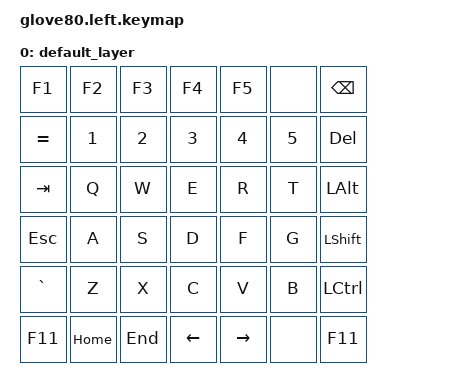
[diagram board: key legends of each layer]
/*
 * Copyright (c) 2020 The ZMK Contributors
 *
 * SPDX-License-Identifier: MIT
 */

#include <behaviors.dtsi>
#include <dt-bindings/zmk/keys.h>

/ {
    keymap {
        compatible = "zmk,keymap";

        default_layer {
// ---------------------------------------------------------------------------------------------------------------------------------
// |  F1   |  F2 |  F3 |  F4  |  F5  | n/a  |  BKSP   | | SPACE   | n/a  |  F6   |  F7   |  F8  |   F9  |  F10 |
// |  =    |  1  |  2  |  3   |  4   |  5   |  DEL    | | ENTER   |  6   |   7   |   8   |  9   |   0   |   -  |
// |  TAB  |  Q  |  W  |  E   |  R   |  T   | L ALT   | | R ALT   |  Y   |   U   |   I   |  O   |   P   |   \  |
// |  ESC  |  A  |  S  |  D   |  F   |  G   | L SHIFT | | R SHIFT |  H   |   J   |   K   |  L   |   ;   |   '  |
// |   `   |  Z  |  X  |  C   |  V   |  B   | L CTRL  | | R CTRL  |  N   |   M   |   ,   |  .   |   /   | PGUP |
// | MAGIC | HOME| END | LEFT | RIGHT| n/a  |  LAYER  | |  WIN    | n/a  |  UP   | DOWN  |  [   |   ]   | PGDN |

// [SC] MAGIC and LAYER are currently mapped to F11 - these will be fixed later
            bindings = <
    &kp F1      &kp F2      &kp F3      &kp F4      &kp F5      &none   &kp BSPC    
    &kp EQUAL   &kp N1      &kp N2      &kp N3      &kp N4      &kp N5  &kp DEL     
    &kp TAB     &kp Q       &kp W       &kp E       &kp R       &kp T   &kp LALT    
    &kp ESC     &kp A       &kp S       &kp D       &kp F       &kp G   &kp LSHFT   
    &kp GRAVE   &kp Z       &kp X       &kp C       &kp V       &kp B   &kp LCTRL   
    &kp F11     &kp HOME    &kp END     &kp LEFT    &kp RIGHT   &none   &kp F11     
            >;
        };
    };
};
